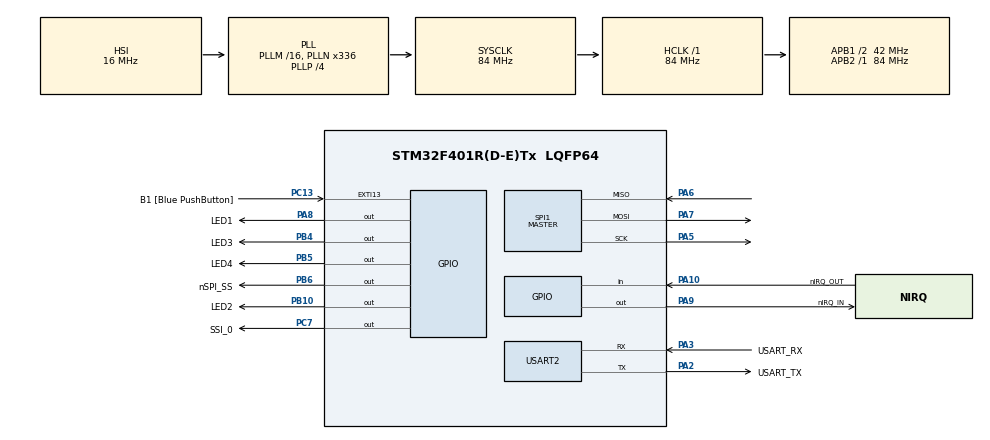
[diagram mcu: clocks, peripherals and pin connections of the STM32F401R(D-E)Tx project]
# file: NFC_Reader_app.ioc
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Mcu.Family=STM32F4
Mcu.Name=STM32F401R(D-E)Tx
Mcu.Package=LQFP64
NVIC.PriorityGroup=NVIC_PRIORITYGROUP_0
PA10.GPIO_Label=nIRQ_OUT
PA10.Signal=GPIO_Input
PA13.GPIO_Label=TMS
PA13.Signal=SYS_JTMS-SWDIO
PA14.GPIO_Label=TCK
PA14.Signal=SYS_JTCK-SWCLK
PA2.GPIO_Label=USART_TX
PA2.GPIO_Mode=GPIO_MODE_AF_PP
PA2.GPIO_PuPd=GPIO_NOPULL
PA2.GPIO_Speed=GPIO_SPEED_FREQ_LOW
PA2.Mode=Asynchronous
PA2.Signal=USART2_TX
PA3.GPIO_Label=USART_RX
PA3.GPIO_Mode=GPIO_MODE_AF_PP
PA3.GPIO_PuPd=GPIO_NOPULL
PA3.GPIO_Speed=GPIO_SPEED_FREQ_LOW
PA3.Mode=Asynchronous
PA3.Signal=USART2_RX
PA5.Mode=Full_Duplex_Master
PA5.Signal=SPI1_SCK
PA6.Mode=Full_Duplex_Master
PA6.Signal=SPI1_MISO
PA7.Mode=Full_Duplex_Master
PA7.Signal=SPI1_MOSI
PA8.GPIO_Label=LED1
PA8.Signal=GPIO_Output
PA9.GPIO_Label=nIRQ_IN
PA9.Signal=GPIO_Output
PB10.GPIO_Label=LED2
PB10.Signal=GPIO_Output
PB4.GPIO_Label=LED3
PB4.Signal=GPIO_Output
PB5.GPIO_Label=LED4
PB5.Signal=GPIO_Output
PB6.GPIO_Label=nSPI_SS
PB6.Signal=GPIO_Output
PC13-ANTI_TAMP.GPIO_Label=B1 [Blue PushButton]
PC13-ANTI_TAMP.GPIO_ModeDefaultEXTI=GPIO_MODE_IT_FALLING
PC13-ANTI_TAMP.GPIO_PuPd=GPIO_NOPULL
PC13-ANTI_TAMP.Signal=GPXTI13
PC14-OSC32_IN.Signal=RCC_OSC32_IN
PC15-OSC32_OUT.Signal=RCC_OSC32_OUT
PC7.GPIO_Label=SSI_0
PC7.Signal=GPIO_Output
PH0\ -\ OSC_IN.Signal=RCC_OSC_IN
PH1\ -\ OSC_OUT.Signal=RCC_OSC_OUT
ProjectManager.HeapSize=0x200
ProjectManager.StackSize=0x400
ProjectManager.TargetToolchain=STM32CubeIDE
RCC.AHBFreq_Value=84000000
RCC.APB1CLKDivider=RCC_HCLK_DIV2
RCC.APB1Freq_Value=42000000
RCC.APB1TimFreq_Value=84000000
RCC.APB2Freq_Value=84000000
RCC.APB2TimFreq_Value=84000000
RCC.CortexFreq_Value=84000000
RCC.HCLKFreq_Value=84000000
RCC.HSE_VALUE=8000000
RCC.HSI_VALUE=16000000
RCC.LSE_VALUE=32768
RCC.PLLN=336
RCC.PLLP=RCC_PLLP_DIV4
RCC.PLLQ=7
RCC.SYSCLKFreq_VALUE=84000000
RCC.SYSCLKSource=RCC_SYSCLKSOURCE_PLLCLK
RCC.VCOOutputFreq_Value=336000000
SPI1.BaudRatePrescaler=SPI_BAUDRATEPRESCALER_32
SPI1.Direction=SPI_DIRECTION_2LINES
SPI1.Mode=SPI_MODE_MASTER
SPI1.VirtualType=VM_MASTER
USART2.VirtualMode=VM_ASYNC
board=NUCLEO-F401RE

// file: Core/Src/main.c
/* USER CODE BEGIN Header */
/**
  ******************************************************************************
  * @file           : main.c
  * @brief          : Main program body
  ******************************************************************************
  * @attention
  *
  * <h2><center>&copy; Copyright (c) 2019 STMicroelectronics.
  * All rights reserved.</center></h2>
  *
  * This software component is licensed by ST under BSD 3-Clause license,
  * the "License"; You may not use this file except in compliance with the
  * License. You may obtain a copy of the License at:
  *                        opensource.org/licenses/BSD-3-Clause
  *
  ******************************************************************************
  */
/* USER CODE END Header */

#include "main.h"

/* USER CODE BEGIN Includes */
#include "demo.h"
#include "platform.h"

/* USER CODE END Includes */

SPI_HandleTypeDef hspi1;

UART_HandleTypeDef huart2;

/* USER CODE BEGIN PV */
/* Private variables ---------------------------------------------------------*/

/* USER CODE END PV */

void SystemClock_Config(void);
static void MX_GPIO_Init(void);
static void MX_USART2_UART_Init(void);
static void MX_SPI1_Init(void);
/* USER CODE BEGIN PFP */
/* Private function prototypes -----------------------------------------------*/

/* USER CODE END PFP */

int main(void)
{

  /* MCU Configuration--------------------------------------------------------*/

  /* Reset of all peripherals, Initializes the Flash interface and the Systick. */
  HAL_Init();

  /* Configure the system clock */
  SystemClock_Config();

  /* Initialize all configured peripherals */
  MX_GPIO_Init();
  MX_USART2_UART_Init();
  MX_SPI1_Init();
  /* USER CODE BEGIN 2 */

  /* Initialize log module */
  logUsartInit(&huart2);

  platformLog("\r\nWelcome to X-NUCLEO-NFC03A1 (SPI Interface)\r\n");

   /* Initalize RFAL */
  if( !demoIni() )
  {
    /*
    * in case the rfal initalization failed signal it by flashing all LED
    * and stoping all operations
    */
    platformLog("Initialization failed..\r\n");
    while(1)
    {
      platformLedToogle(PLATFORM_LED_A_PORT, PLATFORM_LED_A_PIN);
      platformLedToogle(PLATFORM_LED_B_PORT, PLATFORM_LED_B_PIN);
      platformLedToogle(PLATFORM_LED_F_PORT, PLATFORM_LED_F_PIN);
      platformLedToogle(PLATFORM_LED_V_PORT, PLATFORM_LED_V_PIN);
      platformDelay(100);
    }
  }
  else
  {
    platformLog("Initialization succeeded..\r\n");
    platformLog("Progetto Caputo Gargiulo\r\n");
    for (int i = 0; i < 6; i++)
    {
      platformLedToogle(PLATFORM_LED_A_PORT, PLATFORM_LED_A_PIN);
      platformLedToogle(PLATFORM_LED_B_PORT, PLATFORM_LED_B_PIN);
      platformLedToogle(PLATFORM_LED_F_PORT, PLATFORM_LED_F_PIN);
      platformLedToogle(PLATFORM_LED_V_PORT, PLATFORM_LED_V_PIN);
      platformDelay(200);
    }

    platformLedOff(PLATFORM_LED_A_PORT, PLATFORM_LED_A_PIN);
    platformLedOff(PLATFORM_LED_B_PORT, PLATFORM_LED_B_PIN);
    platformLedOff(PLATFORM_LED_F_PORT, PLATFORM_LED_F_PIN);
    platformLedOff(PLATFORM_LED_V_PORT, PLATFORM_LED_V_PIN);
  }

  /* USER CODE END 2 */

  /* Infinite loop */
  /* USER CODE BEGIN WHILE */
  while (1)
  {
    /* Run Demo Application */
    demoCycle();

    /* USER CODE END WHILE */

  }
}

void SystemClock_Config(void)
{
  RCC_OscInitTypeDef RCC_OscInitStruct;
  RCC_ClkInitTypeDef RCC_ClkInitStruct;

  __HAL_RCC_PWR_CLK_ENABLE();

  __HAL_PWR_VOLTAGESCALING_CONFIG(PWR_REGULATOR_VOLTAGE_SCALE2);

  RCC_OscInitStruct.OscillatorType      = RCC_OSCILLATORTYPE_HSI;
  RCC_OscInitStruct.HSIState 		= RCC_HSI_ON;
  RCC_OscInitStruct.HSICalibrationValue = 16;
  RCC_OscInitStruct.PLL.PLLState 	= RCC_PLL_ON;
  RCC_OscInitStruct.PLL.PLLSource 	= RCC_PLLSOURCE_HSI;
  RCC_OscInitStruct.PLL.PLLM 		= 16;
  RCC_OscInitStruct.PLL.PLLN 		= 336;
  RCC_OscInitStruct.PLL.PLLP		= RCC_PLLP_DIV4;
  RCC_OscInitStruct.PLL.PLLQ 		= 7;
  HAL_RCC_OscConfig(&RCC_OscInitStruct);

  /* Select PLL as system clock source and configure the PCLK1 clocks dividers */
  RCC_ClkInitStruct.ClockType 		= (RCC_CLOCKTYPE_SYSCLK | RCC_CLOCKTYPE_PCLK1);
  RCC_ClkInitStruct.SYSCLKSource 	= RCC_SYSCLKSOURCE_PLLCLK;
  RCC_ClkInitStruct.AHBCLKDivider 	= RCC_SYSCLK_DIV1;
  RCC_ClkInitStruct.APB1CLKDivider 	= RCC_HCLK_DIV2;
  RCC_ClkInitStruct.APB2CLKDivider 	= RCC_HCLK_DIV1;

  if (HAL_RCC_ClockConfig(&RCC_ClkInitStruct, FLASH_LATENCY_2) != HAL_OK)
  {
    _Error_Handler(__FILE__, __LINE__);
  }

 /* Enable SYSCFG Clock */
  __HAL_RCC_SYSCFG_CLK_ENABLE();
}

static void MX_SPI1_Init(void)
{

  /* SPI1 parameter configuration*/
  hspi1.Instance = SPI1;
  hspi1.Init.Mode = SPI_MODE_MASTER;
  hspi1.Init.Direction = SPI_DIRECTION_2LINES;
  hspi1.Init.DataSize = SPI_DATASIZE_8BIT;
  hspi1.Init.CLKPolarity = SPI_POLARITY_LOW;
  hspi1.Init.CLKPhase = SPI_PHASE_1EDGE;
  hspi1.Init.NSS = SPI_NSS_SOFT;
  hspi1.Init.BaudRatePrescaler = SPI_BAUDRATEPRESCALER_32;
  hspi1.Init.FirstBit = SPI_FIRSTBIT_MSB;
  hspi1.Init.TIMode = SPI_TIMODE_DISABLE;
  hspi1.Init.CRCCalculation = SPI_CRCCALCULATION_DISABLE;
  hspi1.Init.CRCPolynomial = 7;
  if (HAL_SPI_Init(&hspi1) != HAL_OK)
  {
    Error_Handler();
  }

}

static void MX_USART2_UART_Init(void)
{

  huart2.Instance = USART2;
  huart2.Init.BaudRate = 115200;
  huart2.Init.WordLength   = UART_WORDLENGTH_8B;
  huart2.Init.StopBits = UART_STOPBITS_1;
  huart2.Init.Parity = UART_PARITY_NONE;
  huart2.Init.Mode = UART_MODE_TX_RX;
  huart2.Init.HwFlowCtl = UART_HWCONTROL_NONE;
  huart2.Init.OverSampling = UART_OVERSAMPLING_16;
  if (HAL_UART_Init(&huart2) != HAL_OK)
  {
    _Error_Handler(__FILE__, __LINE__);
  }

}

static void MX_GPIO_Init(void)
{
  GPIO_InitTypeDef GPIO_InitStruct = {0};

  /* GPIO Ports Clock Enable */
  __HAL_RCC_GPIOC_CLK_ENABLE();
  __HAL_RCC_GPIOH_CLK_ENABLE();
  __HAL_RCC_GPIOA_CLK_ENABLE();
  __HAL_RCC_GPIOB_CLK_ENABLE();
  __HAL_RCC_GPIOD_CLK_ENABLE();

  /*Configure GPIO pin Output Level */
  HAL_GPIO_WritePin(GPIOB, LED2_Pin|LED3_Pin|LED4_Pin, GPIO_PIN_RESET);

  /*Configure GPIO pin Output Level */
  HAL_GPIO_WritePin(SSI_0_GPIO_Port, SSI_0_Pin, GPIO_PIN_SET);

  /*Configure GPIO pin Output Level */
  HAL_GPIO_WritePin(GPIOA, LED1_Pin|nIRQ_IN_Pin, GPIO_PIN_RESET);

  /*Configure GPIO pin Output Level */
  HAL_GPIO_WritePin(nSPI_SS_GPIO_Port, nSPI_SS_Pin, GPIO_PIN_SET);

  /*Configure GPIO pin : B1_Pin */
  GPIO_InitStruct.Pin = B1_Pin;
  GPIO_InitStruct.Mode = GPIO_MODE_EVT_RISING;
  GPIO_InitStruct.Pull = GPIO_NOPULL;
  HAL_GPIO_Init(B1_GPIO_Port, &GPIO_InitStruct);

  /*Configure GPIO pins : PC0 PC1 PC2 PC3
                           PC4 PC5 PC6 PC8
                           PC9 PC10 PC11 PC12 */
  GPIO_InitStruct.Pin = GPIO_PIN_0|GPIO_PIN_1|GPIO_PIN_2|GPIO_PIN_3
                          |GPIO_PIN_4|GPIO_PIN_5|GPIO_PIN_6|GPIO_PIN_8
                          |GPIO_PIN_9|GPIO_PIN_10|GPIO_PIN_11|GPIO_PIN_12;
  GPIO_InitStruct.Mode = GPIO_MODE_ANALOG;
  GPIO_InitStruct.Pull = GPIO_NOPULL;
  HAL_GPIO_Init(GPIOC, &GPIO_InitStruct);

  /*Configure GPIO pins : PA0 PA1 PA4 PA11
                           PA12 PA15 */
  GPIO_InitStruct.Pin = GPIO_PIN_0|GPIO_PIN_1|GPIO_PIN_4|GPIO_PIN_11
                          |GPIO_PIN_12|GPIO_PIN_15;
  GPIO_InitStruct.Mode = GPIO_MODE_ANALOG;
  GPIO_InitStruct.Pull = GPIO_NOPULL;
  HAL_GPIO_Init(GPIOA, &GPIO_InitStruct);

  /*Configure GPIO pins : PB0 PB1 PB2 PB11
                           PB12 PB13 PB14 PB15
                           PB7 PB8 PB9 */
  GPIO_InitStruct.Pin = GPIO_PIN_0|GPIO_PIN_1|GPIO_PIN_2|GPIO_PIN_11
                          |GPIO_PIN_12|GPIO_PIN_13|GPIO_PIN_14|GPIO_PIN_15
                          |GPIO_PIN_7|GPIO_PIN_8|GPIO_PIN_9;
  GPIO_InitStruct.Mode = GPIO_MODE_ANALOG;
  GPIO_InitStruct.Pull = GPIO_NOPULL;
  HAL_GPIO_Init(GPIOB, &GPIO_InitStruct);

  /*Configure GPIO pins : LED2_Pin LED3_Pin LED4_Pin nSPI_SS_Pin */
  GPIO_InitStruct.Pin = LED2_Pin|LED3_Pin|LED4_Pin|nSPI_SS_Pin;
  GPIO_InitStruct.Mode = GPIO_MODE_OUTPUT_PP;
  GPIO_InitStruct.Pull = GPIO_NOPULL;
  GPIO_InitStruct.Speed = GPIO_SPEED_FREQ_LOW;
  HAL_GPIO_Init(GPIOB, &GPIO_InitStruct);

  /*Configure GPIO pin : SSI_0_Pin */
  GPIO_InitStruct.Pin = SSI_0_Pin;
  GPIO_InitStruct.Mode = GPIO_MODE_OUTPUT_PP;
  GPIO_InitStruct.Pull = GPIO_NOPULL;
  GPIO_InitStruct.Speed = GPIO_SPEED_FREQ_LOW;
  HAL_GPIO_Init(SSI_0_GPIO_Port, &GPIO_InitStruct);

  /*Configure GPIO pins : LED1_Pin nIRQ_IN_Pin */
  GPIO_InitStruct.Pin = LED1_Pin|nIRQ_IN_Pin;
  GPIO_InitStruct.Mode = GPIO_MODE_OUTPUT_PP;
  GPIO_InitStruct.Pull = GPIO_NOPULL;
  GPIO_InitStruct.Speed = GPIO_SPEED_FREQ_LOW;
  HAL_GPIO_Init(GPIOA, &GPIO_InitStruct);

  /*Configure GPIO pin : nIRQ_OUT_Pin */
  GPIO_InitStruct.Pin = nIRQ_OUT_Pin;
  GPIO_InitStruct.Mode = GPIO_MODE_INPUT;
  GPIO_InitStruct.Pull = GPIO_NOPULL;
  HAL_GPIO_Init(nIRQ_OUT_GPIO_Port, &GPIO_InitStruct);

  /*Configure GPIO pin : PD2 */
  GPIO_InitStruct.Pin = GPIO_PIN_2;
  GPIO_InitStruct.Mode = GPIO_MODE_ANALOG;
  GPIO_InitStruct.Pull = GPIO_NOPULL;
  HAL_GPIO_Init(GPIOD, &GPIO_InitStruct);

}

void _Error_Handler(char *file, int line)
{
  while(1)
  {
  }
}

/************************ (C) COPYRIGHT STMicroelectronics *****END OF FILE****/
